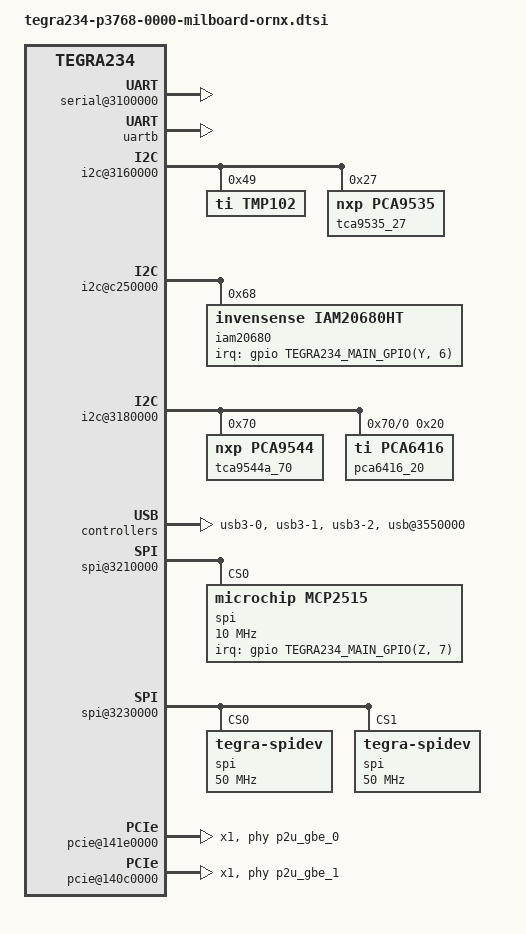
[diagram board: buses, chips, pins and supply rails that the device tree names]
// SPDX-License-Identifier: GPL-2.0-only
// SPDX-FileCopyrightText: Copyright (c) 2023-2024, NVIDIA CORPORATION & AFFILIATES.  All rights reserved.

/ {
	aliases {
		serial3 = &uartb;
	};

	bus@0 {
		serial@3100000 { // UART1 (uarta) RS232/422/485 Channel-1
			status = "okay";
		};

		uartb: serial@3110000 { // UART0 (uartb) RS232/422/485 Channel-0
			status = "okay";
			compatible = "nvidia,tegra194-hsuart";
			reset-names = "serial";
		};

		i2c@3160000 {
			// EEPROM CAT24C04WI-GT3 - 0x56

			tmp102: tmp102@49 { // Temperature Sensor
				status = "okay";
				compatible = "ti,tmp102";
				reg = <0x49>;
				#thermal-sensor-cells = <0>;
			};

			tca9535_27: tca9535@27 {
				compatible = "nxp,pca9535";
				reg = <0x27>;
				gpio-controller;
				#gpio-cells = <2>;
				gpio-line-names = 
				    "SERIAL_CH0.DE",
				    "SERIAL_CH0.SHDN#",
				    "SERIAL_CH0.SLEW#",
				    "SERIAL_CH0.TERM",
				    "SERIAL_CH0.RS485/RS232#",
				    "SERIAL_CH0.HALF/FULL#",
				    "SERIAL_CH0.RE#",
				    "CAN0_TERM_SEL_N",
				    "SERIAL_CH1.DE",
				    "SERIAL_CH1.SHDN#",
				    "SERIAL_CH1.SLEW#",
				    "SERIAL_CH1.TERM",
				    "SERIAL_CH1.RS485/RS232#",
				    "SERIAL_CH1.HALF/FULL#",
				    "SERIAL_CH1.RE#",
				    "CAN1_TERM_SEL_N";

				ioexpander_outlow {
					gpio-hog;
					gpios = <3 0 4 0 5 0 6 0 7 0 11 0 12 0 13 0 14 0 15 0>;
					output-low;
				};

				ioexpander_outhigh {
					gpio-hog;
					gpios = <0 0 1 0 2 0 8 0 9 0 10 0>;
					output-high;
				};
			};
		};

		i2c@c250000 {
			iam20680@68 {
				compatible = "invensense,iam20680ht";
				reg = <0x68>;
				interrupt-parent = <&gpio>;
				interrupts = <TEGRA234_MAIN_GPIO(Y, 6) IRQ_TYPE_LEVEL_LOW>; //Unused pin
			};
		};

		i2c@3180000 {
			tca9544a_70: tca9544a@70 {
				status = "okay";
				compatible = "nxp,pca9544";
				reg = <0x70>;
				#address-cells = <1>;
				#size-cells = <0>;
				//i2c-mux-idle-disconnect;
				//idle-state = <1>;
				//skip_mux_detect = "yes";

				i2c@0 {
					status = "okay";
					reg = <0>;
					i2c-mux,deselect-on-exit;
					#address-cells = <1>;
					#size-cells = <0>;

					pca6416_20: pca6416@20 {
						compatible = "ti,pca6416";
						reg = <0x20>;
						gpio-controller;
						#gpio-cells = <2>;
						gpio-line-names = 
						    "CAM_FRSYNC1",
						    "CAM_FRSYNC2",
						    "CAM_FRSYNC3",
						    "CAM_FRSYNC4",
						    "CAM_ERROR1",
						    "CAM_ERROR2",
						    "CAM_ERROR3",
						    "CAM_ERROR4",
						    "CAM_INT1",
						    "CAM_INT2",
						    "CAM_INT3",
						    "CAM_INT4",
						    "CAM0_RST",
						    "CAM1_RST",
						    "CAM_TE_RSV",
						    "CAM_VDD_SYS_EN";

						ioexpander_outlow {
							gpio-hog;
							gpios = <0 0 1 0 2 0 3 0 12 0 13 0 14 0>;
							output-low;
						};

						ioexpander_outhigh {
							gpio-hog;
							gpios = <10 0 11 0 12 0 15 0>;
							output-high;
						};

						ioexpander_input {
							gpio-hog;
							gpios = <4 0 5 0 6 0 7 0 8 0 9 0 10 0 11 0>;
							input;
						};
					};
				};
				i2c@1 {
					status = "okay";
					reg = <1>;
					i2c-mux,deselect-on-exit;
					#address-cells = <1>;
					#size-cells = <0>;
				};
				i2c@2 {
					status = "okay";
					reg = <2>;
					i2c-mux,deselect-on-exit;
					#address-cells = <1>;
					#size-cells = <0>;
				};
				i2c@3 {
					status = "okay";
					reg = <3>;
					i2c-mux,deselect-on-exit;
					#address-cells = <1>;
					#size-cells = <0>;
				};
			};
		};

		padctl@3520000 {
			ports {
				usb3-0 {
					nvidia,usb2-companion = <0>;
					status = "okay";
				};
				usb3-1 {
					nvidia,usb2-companion = <1>;
					status = "okay";
				};
				usb3-2 {
					nvidia,usb2-companion = <2>;
					status = "okay";
				};
			};
		};
		usb@3550000 {
			status = "okay";
			phys = <&{/bus@0/padctl@3520000/pads/usb2/lanes/usb2-0}>,
			       <&{/bus@0/padctl@3520000/pads/usb3/lanes/usb3-0}>;
			phy-names = "usb2-0", "usb3-0";
		};

		clocks {
			can_clock: can_clock {
				compatible = "fixed-clock";
				#clock-cells = <0>;
				clock-frequency = <20000000>;
				clock-accuracy = <100>;
			};
		};
		spi@3210000{ // SPI0 with CS0 for SPI2CAN
			status = "okay";
			nvidia,clock-always-on;
			spi@0 {
				status = "okay";
				compatible = "microchip,mcp2515";
				reg = <0x0>;
				spi-max-frequency = <10000000>;
				interrupt-parent = <&gpio>;
				interrupts = <TEGRA234_MAIN_GPIO(Z, 7) IRQ_TYPE_LEVEL_LOW>;
				clocks = <&can_clock>;
				nvidia,enable-hw-based-cs;
			};
			spi@1 {
				status = "disabled";
			};
		};

		spi@3230000{
			status = "okay";
			spi@0 {
				compatible = "tegra-spidev";
				reg = <0x0>;
				spi-max-frequency = <50000000>;
				controller-data {
					nvidia,enable-hw-based-cs;
					nvidia,rx-clk-tap-delay = <0x10>;
					nvidia,tx-clk-tap-delay = <0x0>;
				};
			};
			spi@1 {
				compatible = "tegra-spidev";
				reg = <0x1>;
				spi-max-frequency = <50000000>;
				controller-data {
					nvidia,enable-hw-based-cs;
					nvidia,rx-clk-tap-delay = <0x10>;
					nvidia,tx-clk-tap-delay = <0x0>;
				};
			};
		};

		pcie@141e0000 { /* C7x1 node */
			status = "okay";
			num-lanes = <1>;
			phys = <&p2u_gbe_0>;
			phy-names = "p2u-0";
		};

		pcie@140c0000 { /* C9x1 node */
			status = "okay";
			num-lanes = <1>;
			phys = <&p2u_gbe_1>;
			phy-names = "p2u-0";
		};
	};
};
